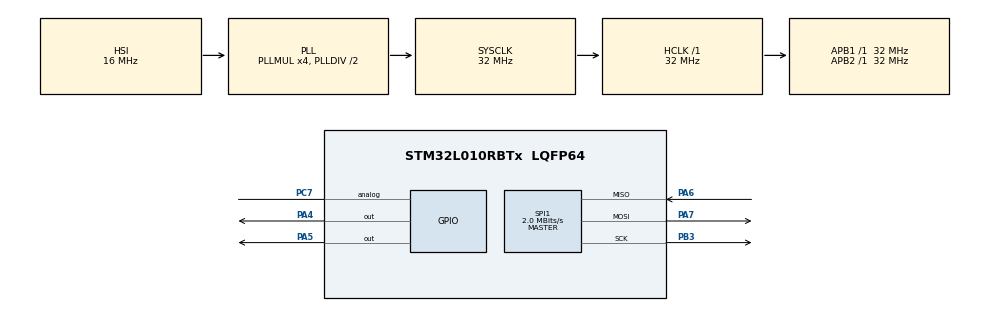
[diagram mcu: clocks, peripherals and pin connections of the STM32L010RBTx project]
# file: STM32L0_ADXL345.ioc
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Mcu.Family=STM32L0
Mcu.Name=STM32L010RBTx
Mcu.Package=LQFP64
PA4.Signal=GPIO_Output
PA5.Signal=GPIO_Output
PA6.Mode=Full_Duplex_Master
PA6.Signal=SPI1_MISO
PA7.Mode=Full_Duplex_Master
PA7.Signal=SPI1_MOSI
PB3.Mode=Full_Duplex_Master
PB3.Signal=SPI1_SCK
PC7.Signal=GPIO_Analog
ProjectManager.HeapSize=0x200
ProjectManager.StackSize=0x400
ProjectManager.TargetToolchain=STM32CubeIDE
RCC.AHBFreq_Value=32000000
RCC.APB1Freq_Value=32000000
RCC.APB1TimFreq_Value=32000000
RCC.APB2Freq_Value=32000000
RCC.APB2TimFreq_Value=32000000
RCC.HCLKFreq_Value=32000000
RCC.HSE_VALUE=8000000
RCC.HSI16_VALUE=16000000
RCC.HSI48_VALUE=48000000
RCC.HSI_VALUE=16000000
RCC.LSEState=RCC_LSE_ON
RCC.LSE_VALUE=32768
RCC.MSI_VALUE=2097000
RCC.PLLMUL=RCC_PLLMUL_4
RCC.SYSCLKFreq_VALUE=32000000
RCC.SYSCLKSource=RCC_SYSCLKSOURCE_PLLCLK
RCC.VCOOutputFreq_Value=64000000
SPI1.BaudRatePrescaler=SPI_BAUDRATEPRESCALER_16
SPI1.CLKPhase=SPI_PHASE_2EDGE
SPI1.CLKPolarity=SPI_POLARITY_HIGH
SPI1.CalculateBaudRate=2.0 MBits/s
SPI1.Direction=SPI_DIRECTION_2LINES
SPI1.Mode=SPI_MODE_MASTER
SPI1.VirtualType=VM_MASTER
board=NUCLEO-L010RB

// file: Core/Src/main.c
/* USER CODE BEGIN Header */
/**
  ******************************************************************************
  * @file           : main.c
  * @brief          : Main program body
  ******************************************************************************
  * @attention
  *
  * <h2><center>&copy; Copyright (c) 2020 STMicroelectronics.
  * All rights reserved.</center></h2>
  *
  * This software component is licensed by ST under BSD 3-Clause license,
  * the "License"; You may not use this file except in compliance with the
  * License. You may obtain a copy of the License at:
  *                        opensource.org/licenses/BSD-3-Clause
  *
  ******************************************************************************
  */
/* USER CODE END Header */

#include "main.h"

/* USER CODE BEGIN Includes */
#include "ADXL.h"
/* USER CODE END Includes */

SPI_HandleTypeDef hspi1;

/* USER CODE BEGIN PV */
uint32_t aa = 0;

uint8_t ADXLid = 0;
uint16_t Zdata0 = 0;
uint16_t Zdata1 = 0;
uint16_t Xdata0 = 0;
uint16_t Xdata1 = 0;
uint16_t Ydata0 = 0;
uint16_t Ydata1 = 0;

int16_t  accX = 0;
float accXfloat = 0;
int16_t  accY = 0;
float accYfloat = 0;
int16_t  accZ = 0;
float accZfloat = 0;

uint8_t data[6]={0,0,0,0,0,0};
/* USER CODE END PV */

void SystemClock_Config(void);
static void MX_GPIO_Init(void);
static void MX_SPI1_Init(void);

int main(void)
{

  /* MCU Configuration--------------------------------------------------------*/

  /* Reset of all peripherals, Initializes the Flash interface and the Systick. */
  HAL_Init();

  /* Configure the system clock */
  SystemClock_Config();

  /* Initialize all configured peripherals */
  MX_GPIO_Init();
  MX_SPI1_Init();
  /* USER CODE BEGIN 2 */

  delay_init(32);

  ADXL_InitTypeDef adxl_config;
  adxl_config.Range = RANGE_16G;
  adxl_config.Resolution = RESOLUTION_FULL;
  adxl_config.AutoSleep = AUTOSLEEPOFF;
  adxl_config.LPMode = LPMODE_LOWPOWER;
  adxl_config.Rate = BWRATE_100;
  adxl_config.SPIMode = SPIMODE_4WIRE;
  adxl_config.IntMode = INT_ACTIVEHIGH;

  adxlStatus InitStatus = ADXL_Init(&adxl_config, &ADXLid);
    if(ADXLid == 0xE5)InitStatus = ADXL_OK;
    if(InitStatus == ADXL_OK)
    {
  	  __NOP();
    }

    ADXL_Measure(ON);
    //writeRegister(INT_MAP, 0x10);
    //writeRegister(INT_ENABLE, 0x80);

  /* USER CODE END 2 */

  /* Infinite loop */
  while (1)
  {

    /* USER CODE BEGIN 3 */
    ADXL_IntProto();
  	readRegister(DATA0,data,6);
  	Xdata0 = data[0];
  	Xdata1 = data[1];
  	Ydata0 = data[2];
  	Ydata1 = data[3];
  	Zdata0 = data[4];
  	Zdata1 = data[5];
  	accX = ((uint8_t)Xdata1<<8)|(uint8_t)Xdata0;
  	accY = ((uint8_t)Ydata1<<8)|(uint8_t)Ydata0;
  	accZ = ((uint8_t)Zdata1<<8)|(uint8_t)Zdata0;

  	//3.9 is scale of LSB(one bit) mg, 1000 is scale to g
  	accXfloat = (float)accX  * 3.9 / 1000;
  	accYfloat = (float)accY  * 3.9 / 1000;
  	accZfloat = (float)accZ  * 3.9 / 1000;

  }
  /* USER CODE END 3 */
}

void SystemClock_Config(void)
{
  RCC_OscInitTypeDef RCC_OscInitStruct = {0};
  RCC_ClkInitTypeDef RCC_ClkInitStruct = {0};

  /** Configure the main internal regulator output voltage
  */
  __HAL_PWR_VOLTAGESCALING_CONFIG(PWR_REGULATOR_VOLTAGE_SCALE1);
  /** Initializes the CPU, AHB and APB busses clocks
  */
  RCC_OscInitStruct.OscillatorType = RCC_OSCILLATORTYPE_HSI;
  RCC_OscInitStruct.HSIState = RCC_HSI_ON;
  RCC_OscInitStruct.HSICalibrationValue = RCC_HSICALIBRATION_DEFAULT;
  RCC_OscInitStruct.PLL.PLLState = RCC_PLL_ON;
  RCC_OscInitStruct.PLL.PLLSource = RCC_PLLSOURCE_HSI;
  RCC_OscInitStruct.PLL.PLLMUL = RCC_PLLMUL_4;
  RCC_OscInitStruct.PLL.PLLDIV = RCC_PLLDIV_2;
  if (HAL_RCC_OscConfig(&RCC_OscInitStruct) != HAL_OK)
  {
    Error_Handler();
  }
  /** Initializes the CPU, AHB and APB busses clocks
  */
  RCC_ClkInitStruct.ClockType = RCC_CLOCKTYPE_HCLK|RCC_CLOCKTYPE_SYSCLK
                              |RCC_CLOCKTYPE_PCLK1|RCC_CLOCKTYPE_PCLK2;
  RCC_ClkInitStruct.SYSCLKSource = RCC_SYSCLKSOURCE_PLLCLK;
  RCC_ClkInitStruct.AHBCLKDivider = RCC_SYSCLK_DIV1;
  RCC_ClkInitStruct.APB1CLKDivider = RCC_HCLK_DIV1;
  RCC_ClkInitStruct.APB2CLKDivider = RCC_HCLK_DIV1;

  if (HAL_RCC_ClockConfig(&RCC_ClkInitStruct, FLASH_LATENCY_1) != HAL_OK)
  {
    Error_Handler();
  }
}

static void MX_SPI1_Init(void)
{

  /* SPI1 parameter configuration*/
  hspi1.Instance = SPI1;
  hspi1.Init.Mode = SPI_MODE_MASTER;
  hspi1.Init.Direction = SPI_DIRECTION_2LINES;
  hspi1.Init.DataSize = SPI_DATASIZE_8BIT;
  hspi1.Init.CLKPolarity = SPI_POLARITY_HIGH;
  hspi1.Init.CLKPhase = SPI_PHASE_2EDGE;
  hspi1.Init.NSS = SPI_NSS_SOFT;
  hspi1.Init.BaudRatePrescaler = SPI_BAUDRATEPRESCALER_16;
  hspi1.Init.FirstBit = SPI_FIRSTBIT_MSB;
  hspi1.Init.TIMode = SPI_TIMODE_DISABLE;
  hspi1.Init.CRCCalculation = SPI_CRCCALCULATION_DISABLE;
  hspi1.Init.CRCPolynomial = 7;
  if (HAL_SPI_Init(&hspi1) != HAL_OK)
  {
    Error_Handler();
  }

}

static void MX_GPIO_Init(void)
{
  GPIO_InitTypeDef GPIO_InitStruct = {0};

  /* GPIO Ports Clock Enable */
  __HAL_RCC_GPIOA_CLK_ENABLE();
  __HAL_RCC_GPIOC_CLK_ENABLE();
  __HAL_RCC_GPIOB_CLK_ENABLE();

  /*Configure GPIO pin Output Level */
  HAL_GPIO_WritePin(GPIOA, GPIO_PIN_4|GPIO_PIN_5, GPIO_PIN_RESET);

  /*Configure GPIO pins : PA4 PA5 */
  GPIO_InitStruct.Pin = GPIO_PIN_4|GPIO_PIN_5;
  GPIO_InitStruct.Mode = GPIO_MODE_OUTPUT_PP;
  GPIO_InitStruct.Pull = GPIO_NOPULL;
  GPIO_InitStruct.Speed = GPIO_SPEED_FREQ_LOW;
  HAL_GPIO_Init(GPIOA, &GPIO_InitStruct);

  /*Configure GPIO pin : PC7 */
  GPIO_InitStruct.Pin = GPIO_PIN_7;
  GPIO_InitStruct.Mode = GPIO_MODE_ANALOG;
  GPIO_InitStruct.Pull = GPIO_NOPULL;
  HAL_GPIO_Init(GPIOC, &GPIO_InitStruct);

}

void Error_Handler(void)
{
}

/************************ (C) COPYRIGHT STMicroelectronics *****END OF FILE****/
